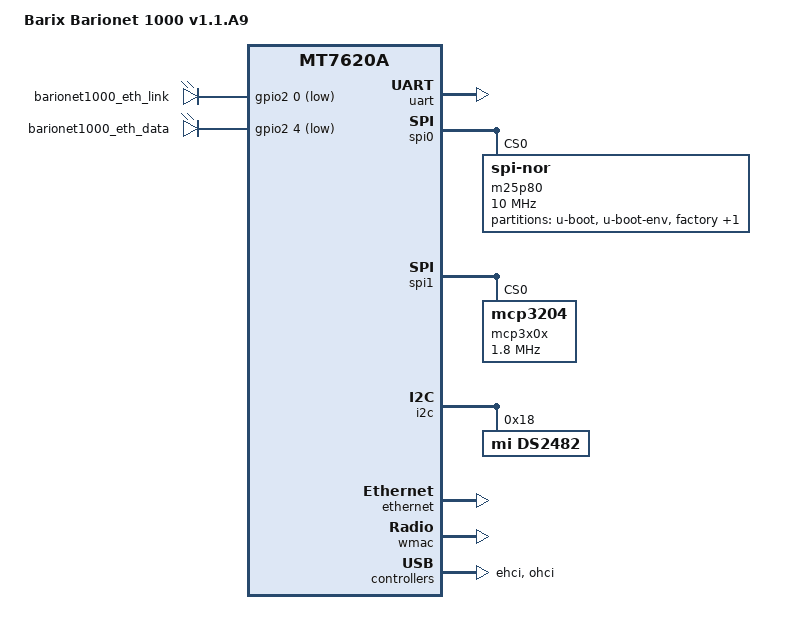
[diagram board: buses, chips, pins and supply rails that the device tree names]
/dts-v1/;

#include "mt7620a.dtsi"

#include <dt-bindings/input/input.h>

/ {
	compatible = "BARIONET-1000-V1-1-A9", "ralink,mt7620a-soc";
	model = "Barix Barionet 1000 v1.1.A9";
	chosen {
		bootargs = "console=ttyS0,115200";
	};
	aliases {
		spi0 = &spi0;
		spi1 = &spi1;
		serial0 = &uartlite;
		serial1 = &uart;
	};
	gpio-leds {
		compatible = "gpio-leds";
		link {
			label = "barionet1000_eth_link";
			gpios = <&gpio2 0 1>;
		};
		data {
			label = "barionet1000_eth_data";
			gpios = <&gpio2 4 1>;
		};
	};
};

&uart {
	status = "okay";
};

&gpio0 {
	status = "okay";
};

&gpio1 {
	status = "okay";
};

&gpio2 {
	status = "okay";
};

&gpio3 {
	status = "okay";
};

&spi0 {
	status = "okay";

	m25p80@0 {
		#address-cells = <1>;
		#size-cells = <1>;
		compatible = "jedec,spi-nor";
		reg = <0>;
		spi-max-frequency = <10000000>;

		partition@0 {
			label = "u-boot";
			reg = <0x0 0x30000>;
			read-only;
		};

		partition@30000 {
			label = "u-boot-env";
			reg = <0x30000 0x10000>;
			read-only;
		};

		factory: partition@40000 {
			label = "factory";
			reg = <0x40000 0x10000>;
			read-only;
		};

		partition@50000 {
			label = "firmware";
			reg = <0x50000 0xfb0000>;
		};
	};
};

&spi1 {
	status = "okay";
	mcp3x0x@0 {
		#address-cells = <1>;
		#size-cells = <1>;
		reg = <0 0>;
		compatible = "mcp3204";
		spi-max-frequency = <1800000>;
	};
};

&i2c {
	status = "okay";
	ds2482@18 {
		#address-cells = <1>;
		#size-cells = <0>;
		compatible = "mi,ds2482";
		reg = <0x18>;
	};
};

&pinctrl {
	state_default: pinctrl0 {
		gpio {

			ralink,group =   "pcie",  "rgmii1", "rgmii2", "wled", "nd_sd", "ephy", "pa", "mdio", "wdt";
			ralink,function = "gpio";
		};
	};
	spi_cs1: spi1 {
		spi1 {
			ralink,group = "spi refclk";
			ralink,function = "spi refclk";
		};
	};
};

&ethernet {
	status = "okay";
	mediatek,portmap = "llllw";
	mtd-mac-address = <&factory 0x28>;
};

&gsw {
	mediatek,port0 = "ephy";
	mediatek,port4 = "ephy";
};

&wmac {
	ralink,mtd-eeprom = <&factory 0>;
};

&ehci {
	status = "okay";
};

&ohci {
	status = "okay";
};
